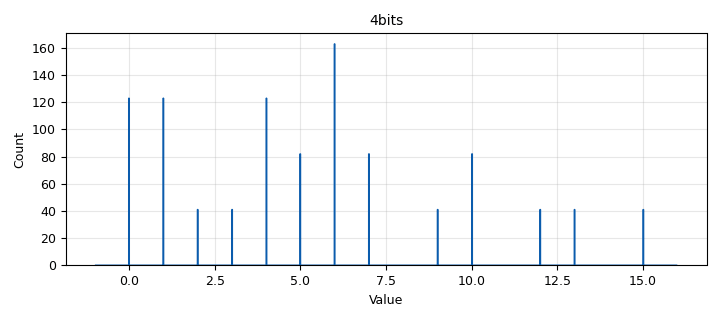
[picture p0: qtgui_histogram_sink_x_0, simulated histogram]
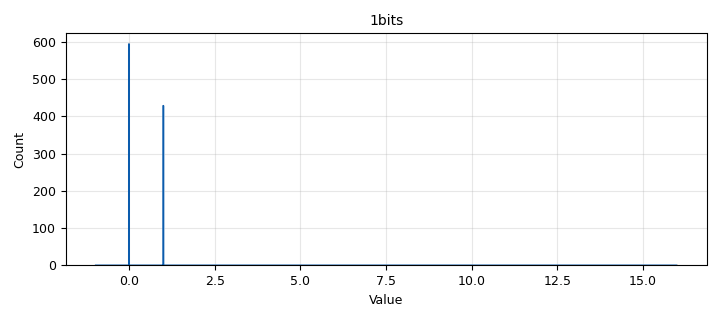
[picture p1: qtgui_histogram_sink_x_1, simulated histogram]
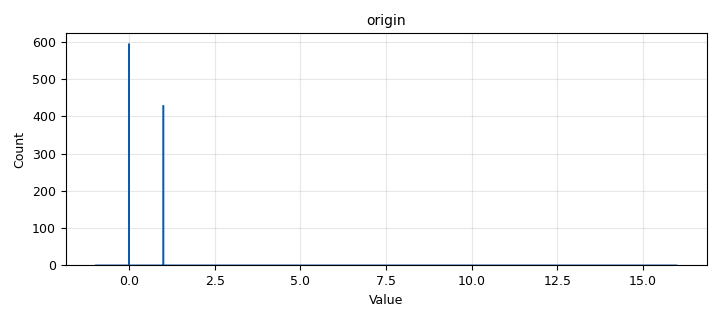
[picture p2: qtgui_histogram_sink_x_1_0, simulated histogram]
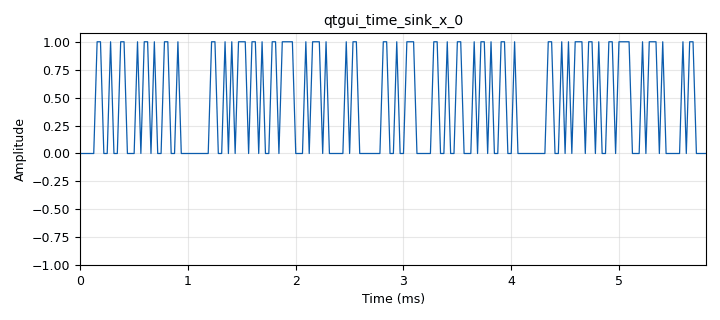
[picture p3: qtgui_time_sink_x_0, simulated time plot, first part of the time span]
options:
  parameters:
    author: abc
    generate_options: qt_gui
    id: text2_bits_packed
    output_language: python
    title: bits packed
  states: {}

blocks:
- name: samp_rate
  id: variable
  parameters:
    value: '32000'
  states: {}
- name: analog_random_source_x_0
  id: analog_random_source_x
  parameters:
    max: '2'
    min: '0'
    num_samps: '100'
    repeat: 'True'
    type: byte
  states: {}
- name: blocks_char_to_float_0
  id: blocks_char_to_float
  parameters:
    scale: '1'
  states: {}
- name: blocks_char_to_float_0_0
  id: blocks_char_to_float
  parameters:
    scale: '1'
  states: {}
- name: blocks_char_to_float_0_1
  id: blocks_char_to_float
  parameters:
    scale: '1'
  states: {}
- name: blocks_char_to_float_0_1_0
  id: blocks_char_to_float
  parameters:
    scale: '1'
  states: {}
- name: blocks_pack_k_bits_bb_0
  id: blocks_pack_k_bits_bb
  parameters:
    k: '4'
  states: {}
- name: blocks_throttle2_0
  id: blocks_throttle2
  parameters:
    samples_per_second: samp_rate
    type: byte
  states: {}
- name: blocks_unpack_k_bits_bb_0
  id: blocks_unpack_k_bits_bb
  parameters:
    k: '4'
  states: {}
- name: qtgui_histogram_sink_x_0
  id: qtgui_histogram_sink_x
  parameters:
    bins: '1024'
    name: 4bits
    size: '1024'
    type: float
    xmax: '16'
    xmin: '-1'
  states: {}
- name: qtgui_histogram_sink_x_1
  id: qtgui_histogram_sink_x
  parameters:
    bins: '1024'
    name: 1bits
    size: '1024'
    type: float
    xmax: '16'
    xmin: '-1'
  states: {}
- name: qtgui_histogram_sink_x_1_0
  id: qtgui_histogram_sink_x
  parameters:
    bins: '1024'
    name: origin
    size: '1024'
    type: float
    xmax: '16'
    xmin: '-1'
  states: {}
- name: qtgui_time_sink_x_0
  id: qtgui_time_sink_x
  parameters:
    size: '1024'
    srate: samp_rate
    type: float
  states: {}

connections:
- [analog_random_source_x_0, '0', blocks_throttle2_0, '0']
- [blocks_char_to_float_0, '0', qtgui_time_sink_x_0, '0']
- [blocks_char_to_float_0_0, '0', qtgui_histogram_sink_x_0, '0']
- [blocks_char_to_float_0_1, '0', qtgui_histogram_sink_x_1, '0']
- [blocks_char_to_float_0_1_0, '0', qtgui_histogram_sink_x_1_0, '0']
- [blocks_pack_k_bits_bb_0, '0', blocks_char_to_float_0_0, '0']
- [blocks_pack_k_bits_bb_0, '0', blocks_unpack_k_bits_bb_0, '0']
- [blocks_throttle2_0, '0', blocks_char_to_float_0, '0']
- [blocks_throttle2_0, '0', blocks_char_to_float_0_1_0, '0']
- [blocks_throttle2_0, '0', blocks_pack_k_bits_bb_0, '0']
- [blocks_unpack_k_bits_bb_0, '0', blocks_char_to_float_0_1, '0']

metadata:
  file_format: 1
  grc_version: 3.10.12.0
